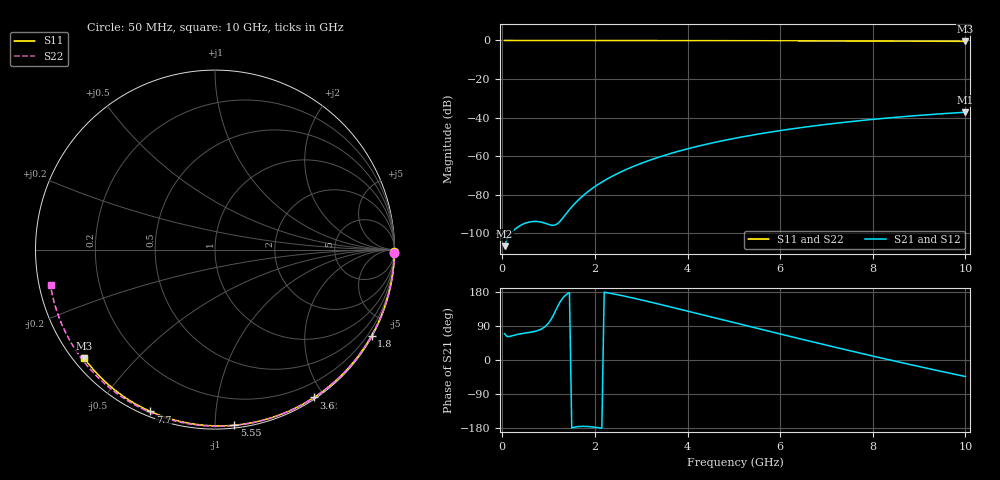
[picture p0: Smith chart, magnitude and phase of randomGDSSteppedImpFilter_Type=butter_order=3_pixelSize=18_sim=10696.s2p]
! freq	dB(S11)	phase(S11)	dB(S12)	phase(S12)
!  dB(S21)	phase(S21)	dB(S22)	phase(S22)
!S-par simulation data
#  GHz  S  DB  R 50
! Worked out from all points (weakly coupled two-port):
!   200 points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, 50 MHz to 10 GHz, reference 50 ohm
!   highest |S21| = -37.24 dB at 10 GHz (marker M1); lowest = -106.7 dB at 50 MHz (marker M2)
!   lowest |S11| = -0.5 dB at 10 GHz (marker M3), VSWR 36.52, Z = 1.55 - j18.1 ohm
!   |S11| at or under -10 dB: nowhere
!   |S22| runs from -0.6 to 0.0 dB; largest |S21 - S12| = 0
!   S11 on the Smith chart (normalised r, x): 50 MHz: open; 1.8 GHz: 0.03, -3.90; 3.6 GHz: 0.02, -1.87; 5.55 GHz: 0.02, -1.12; 7.7 GHz: 0.02, -0.68; 10 GHz: 0.03, -0.36
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0.05  -0.00 -0.8  -106.75 69.2  -106.75 69.2  -0.00 -1.0
0.45  -0.01 -7.3  -95.28 70.3  -95.28 70.3  -0.01 -8.7
0.85  -0.02 -13.7  -94.33 82.1  -94.33 82.1  -0.02 -16.3
1.3  -0.03 -20.9  -92.32 162.6  -92.32 162.6  -0.03 -24.8
1.75  -0.04 -28.0  -80.41 -175.1  -80.41 -175.1  -0.04 -33.2
1.8  -0.04 -28.8  -79.40 -175.2  -79.40 -175.2  -0.04 -34.1
1.95  -0.04 -31.1  -76.65 -176.6  -76.65 -176.6  -0.05 -36.9
2.1  -0.04 -33.4  -74.23 -179.0  -74.23 -179.0  -0.05 -39.6
2.3  -0.05 -36.5  -71.40 176.8  -71.40 176.8  -0.05 -43.3
2.5  -0.05 -39.6  -68.91 172.1  -68.91 172.1  -0.06 -46.9
2.9  -0.06 -45.7  -64.68 161.4  -64.68 161.4  -0.07 -54.1
3.4  -0.07 -53.2  -60.39 147.0  -60.39 147.0  -0.08 -62.9
3.6  -0.08 -56.2  -58.91 141.0  -58.91 141.0  -0.09 -66.3
4.3  -0.09 -66.3  -54.45 119.9  -54.45 119.9  -0.11 -78.2
5.05  -0.12 -76.9  -50.63 97.2  -50.63 97.2  -0.14 -90.5
5.55  -0.14 -83.8  -48.48 82.1  -48.48 82.1  -0.16 -98.5
6.1  -0.16 -91.1  -46.41 65.6  -46.41 65.6  -0.19 -107.2
6.7  -0.19 -99.0  -44.43 47.9  -44.43 47.9  -0.23 -116.5
7.7  -0.26 -111.8  -41.66 18.9  -41.66 18.9  -0.30 -131.7
8.35  -0.31 -119.9  -40.17 0.6  -40.17 0.6  -0.36 -141.7
9.2  -0.39 -130.4  -38.52 -22.7  -38.52 -22.7  -0.45 -154.9
10  -0.48 -140.2  -37.24 -43.6  -37.24 -43.6  -0.56 -167.8
